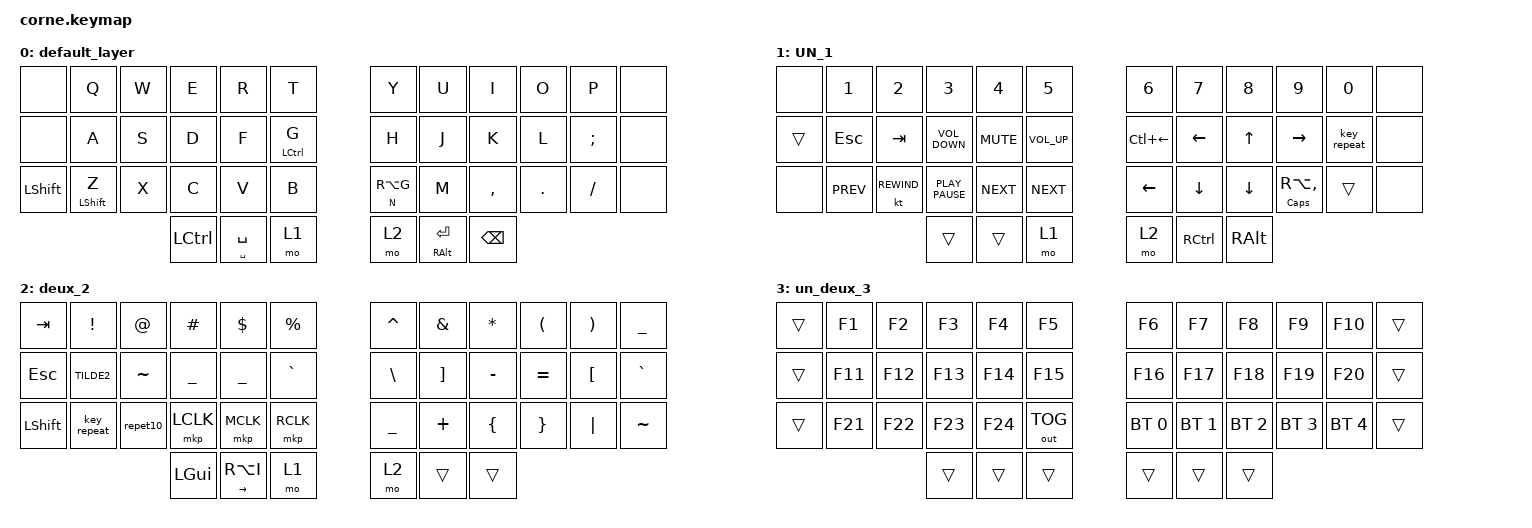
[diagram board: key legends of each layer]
/*
 * Copyright (c) 2020 The ZMK Contributors
 *
 * SPDX-License-Identifier: MIT
 */

#include <dt-bindings/zmk/mouse.h>
#include <behaviors.dtsi>
#include <dt-bindings/zmk/bt.h>
#include <dt-bindings/zmk/keys.h>
#include <dt-bindings/zmk/keys.h>
#include <dt-bindings/zmk/outputs.h>
#include <dt-bindings/zmk/pointing.h>

/ {
    macros {
        virguleEspace: virguleEspace {
            compatible = "zmk,behavior-macro";
            #binding-cells = <0>;
            bindings = <&kp G &kp SPACE>;
            label = "VIRGULEESPACE";
        };

        pointEspace: pointEspace {
            compatible = "zmk,behavior-macro";
            #binding-cells = <0>;
            bindings = <&kp V &kp SPACE>;
            label = "POINTESPACE";
        };

        repet10: down10 {
            compatible = "zmk,behavior-macro";
            #binding-cells = <0>;
            bindings = <&key_repeat &key_repeat &key_repeat &key_repeat &key_repeat &key_repeat &key_repeat &key_repeat &key_repeat &key_repeat>;
            label = "DOWN10";
        };
    };

    combos {
        compatible = "zmk,combos";

        layer3 {
            bindings = <&mo 3>;
            key-positions = <38 39>;
        };

        del {
            bindings = <&kp DELETE>;
            key-positions = <36 41>;
        };

        m {
            bindings = <&kp SQT>;
            key-positions = <34 22>;
            layers = <0>;
        };

        z {
            bindings = <&kp LBKT>;
            key-positions = <22 10>;
            layers = <0>;
        };

        Wkey {
            bindings = <&kp RIGHT_BRACKET>;
            key-positions = <7 19>;
            layers = <0>;
        };

        virguleEspace {
            bindings = <&virguleEspace>;
            key-positions = <37 17>;
            layers = <0>;
        };

        pointEspace {
            bindings = <&pointEspace>;
            key-positions = <28 37>;
            layers = <0>;
        };

        btclear {
            bindings = <&bt BT_CLR>;
            key-positions = <29 30>;
            layers = <3>;
        };

        mLeft {
            bindings = <&kp SQT>;
            key-positions = <13 25>;
            layers = <0>;
        };

        repet {
            bindings = <&key_repeat>;
            key-positions = <4 16>;
        };

        repet10 {
            bindings = <&repet10>;
            key-positions = <7 19>;
        };
    };

    behaviors {
        maj: maj {
            compatible = "zmk,behavior-hold-tap";
            label = "MAJ";
            bindings = <&kp>, <&kp>;

            #binding-cells = <2>;
            hold-trigger-key-positions = <1 2 4 3 1 2 3 4 5 6 7 8 9 10 13 14 15 16 17 18 19 20 21 22 25 26 27 28 29 30 31 32 33 34 36 37 38 39 40 41>;
            tapping-term-ms = <240>;
            flavor = "tap-unless-interrupted";
        };

        usbBtClear: usbBtClear {
            compatible = "zmk,behavior-hold-tap";
            label = "USBBTCLEAR";
            bindings = <&bt>, <&out>;

            #binding-cells = <2>;
            tapping-term-ms = <500>;
            hold-trigger-key-positions = <29>;
        };

        click: click {
            compatible = "zmk,behavior-hold-tap";
            label = "CLICK";
            bindings = <&mkp>, <&mkp>;

            #binding-cells = <2>;
            tapping-term-ms = <200>;
            hold-trigger-key-positions = <27>;
        };

        hold_long: hold_long {
            compatible = "zmk,behavior-hold-tap";
            label = "HOLD_LONG";
            bindings = <&kp>, <&kp>;

            #binding-cells = <2>;
            hold-trigger-key-positions = <1 2 4 3 1 2 3 4 5 6 7 8 9 10 13 14 15 16 17 18 19 20 21 22 25 26 27 28 29 30 31 32 33 34 36 37 38 39 40 41>;
            tapping-term-ms = <500>;
            flavor = "tap-unless-interrupted";
        };
    };

    keymap {
        compatible = "zmk,keymap";

        default_layer {
            // -----------------------------------------------------------------------------------------
            // |  TAB |  B  |  É  |  P  |  O  |  È   |    |  M  |  V   |  D  |  L  |  J  |  Z   |
            // | ESC  |  A  |  U  |  I  |  E  |  ;   |    |  C  |  T   |  S  |  R  |  N  |  ^   |
            // | SHFT |  À  |  Y  |  X  |  :  |  K   |    |  ?  |  Q   |  G  |  H  |  F  | SHFT |
            //                    | GUI | LWR | SPC |     | ENT | RSE  | ALT |

            bindings = <
&none      &kp Q              &kp W  &kp E      &kp R             &kp T           &kp Y         &kp U            &kp I          &kp O    &kp P     &none
&none      &kp A              &kp S  &kp D      &kp F             &maj LCTRL G    &kp H         &kp J            &kp K          &kp L    &kp SEMI  &none
&kp LSHFT  &maj LEFT_SHIFT Z  &kp X  &kp C      &kp V             &kp B           &maj N RA(G)  &kp M            &kp COMMA      &kp DOT  &kp FSLH  &none
                                     &kp LCTRL  &maj SPACE SPACE  &mo 1           &mo 2         &maj RALT ENTER  &kp BACKSPACE
            >;
        };

        UN_1 {
            // -----------------------------------------------------------------------------------------
            // |  TAB |  "  |  «  |  »  |  (   |  )  |   |  @  |  +  |  -  |  /  |  *  |  =   |
            // | BTCLR| BT1 | BT2 | BT3 | BT4  |     |   | LFT | DWN |  UP | RGT |     |      |
            // | SHFT |     |     |     |      |     |   |     |     |     |     |     |      |
            //                    |     | SPC | PKSP |   | ALT | ENT  |    |

            bindings = <
&none   &kp N1      &kp N2        &kp N3             &kp N4      &kp N5          &kp N6        &kp N7     &kp N8    &kp N9                   &kp N0       &none
&trans  &kp ESCAPE  &kp TAB       &kp C_VOLUME_DOWN  &kp K_MUTE  &kp C_VOL_UP    &kp LC(LEFT)  &kp LEFT   &kp UP    &kp RIGHT                &key_repeat  &none
&none   &kp K_PREV  &kt C_REWIND  &kp K_PLAY_PAUSE   &kp C_NEXT  &kp K_NEXT      &kp LEFT      &kp DOWN   &kp DOWN  &maj CAPSLOCK RA(COMMA)  &trans       &none
                                  &trans             &trans      &mo 1           &mo 2         &kp RCTRL  &kp RALT
            >;
        };

        deux_2 {
            // -----------------------------------------------------------------------------------------
            // |  TAB |  1  |  2  |  3  |  4   |  5  |   |  6  |  7  |  8  |  9  |  0  |  °   |
            // | ESC  |     |     |     |      |     |   |  =  |  %  |  z  |  w  |  ç  |  $   |
            // | ESC  |     |     |     |      |     |   |  ç  |  w  |  =  |  %  |  z  |  $   |
            // | SHFT |     |     |     |      |     |   |  °  |  `  |  Z  |  W  |  Ç  |  #   |
            //                    |     | SPC | PKSP |   | ALT | ENT  |    |

            bindings = <
&kp TAB    &kp EXCL     &kp AT     &kp HASH        &kp DLLR          &kp PRCNT    &kp CARET  &kp AMPS  &kp STAR   &kp LPAR   &kp RPAR  &kp UNDER
&kp ESC    &kp TILDE2   &kp TILDE  &kp UNDERSCORE  &kp UNDER         &kp GRAVE    &kp BSLH   &kp RBKT  &kp MINUS  &kp EQUAL  &kp LBKT  &kp GRAVE
&kp LSHFT  &key_repeat  &repet10   &mkp LCLK       &mkp MCLK         &mkp RCLK    &kp UNDER  &kp PLUS  &kp LBRC   &kp RBRC   &kp PIPE  &kp TILDE
                                   &kp LGUI        &maj RIGHT RA(I)  &mo 1        &mo 2      &trans    &trans
            >;
        };

        un_deux_3 {
            bindings = <
&trans  &kp F1   &kp F2   &kp F3   &kp F4   &kp F5          &kp F6        &kp F7        &kp F8        &kp F9        &kp F10       &trans
&trans  &kp F11  &kp F12  &kp F13  &kp F14  &kp F15         &kp F16       &kp F17       &kp F18       &kp F19       &kp F20       &trans
&trans  &kp F21  &kp F22  &kp F23  &kp F24  &out OUT_TOG    &bt BT_SEL 0  &bt BT_SEL 1  &bt BT_SEL 2  &bt BT_SEL 3  &bt BT_SEL 4  &trans
                          &trans   &trans   &trans          &trans        &trans        &trans
            >;
        };
    };
};
